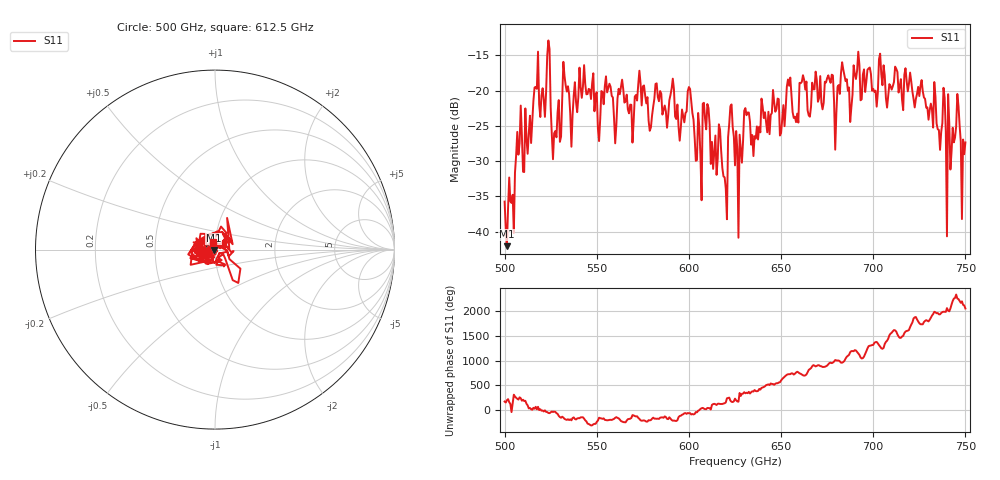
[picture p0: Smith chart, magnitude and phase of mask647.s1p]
!Created with skrf (http://scikit-rf.org).
# GHz S MA R 50.0
!freq magS11 angS11
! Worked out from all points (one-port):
!   401 points, 500 GHz to 750 GHz, reference 50 ohm
!   lowest |S11| = -42.1 dB at 501.2 GHz (marker M1), VSWR 1.02, Z = 49.3 - j0.3 ohm
!   |S11| at or under -10 dB: start of sweep to end of sweep
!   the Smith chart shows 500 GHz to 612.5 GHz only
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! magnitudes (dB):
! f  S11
! 500 GHz  -35.7
! 501.2 GHz  -42.1
! 516.9 GHz  -19.5
! 520.6 GHz  -19.7
! 523.8 GHz  -12.9
! 526.9 GHz  -26.1
! 531.2 GHz  -21.0
! 562.5 GHz  -20.5
! 579.4 GHz  -25.2
! 590.6 GHz  -19.7
! 593.8 GHz  -22.0
! 600.6 GHz  -19.8
! 605.6 GHz  -25.1
! 609.4 GHz  -25.5
! 619.4 GHz  -32.3
! 622.5 GHz  -22.2
! 625 GHz  -30.6
! 656.2 GHz  -23.0
! 676.9 GHz  -18.9
! 680 GHz  -23.1
! 683.8 GHz  -17.0
! 687.5 GHz  -24.4
! 690.6 GHz  -18.4
! 718.8 GHz  -20.1
! 738.1 GHz  -19.6
! 741.2 GHz  -24.6
! 745.6 GHz  -20.5
! 750 GHz  -27.3
